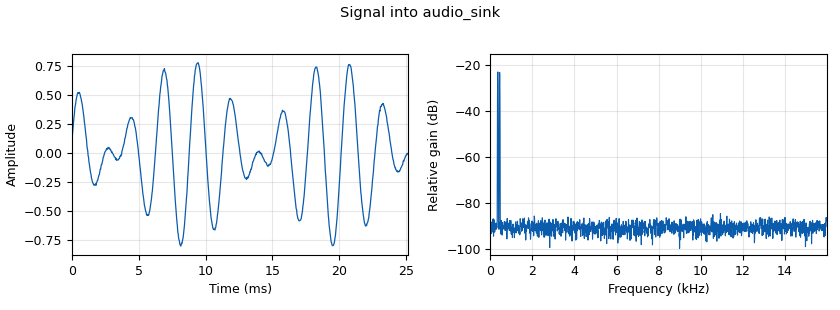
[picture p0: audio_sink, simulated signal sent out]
<?xml version='1.0' encoding='utf-8'?>
<flow_graph>
<block>
<key>options</key>
<param><key>id</key><value>dial_tone</value></param>
<param><key>title</key><value>Dial Tone</value></param>
<param><key>author</key><value>Example</value></param>
<param><key>description</key><value>example flow graph</value></param>
<param><key>generate_options</key><value>wx_gui</value></param>
<param><key>category</key><value>Custom</value></param>
</block>
<block>
<key>audio_sink</key>
<param><key>id</key><value>audio_sink</value></param>
<param><key>samp_rate</key><value>32000</value></param>
</block>
<block>
<key>variable_slider</key>
<param><key>id</key><value>ampl</value></param>
<param><key>label</key><value>Volume</value></param>
<param><key>value</key><value>.4</value></param>
<param><key>min</key><value>0</value></param>
<param><key>max</key><value>.5</value></param>
<param><key>num_steps</key><value>100</value></param>
<param><key>style</key><value>wx.SL_HORIZONTAL</value></param>
<param><key>converver</key><value>float_converter</value></param>
<param><key>grid_pos</key><value>0, 0, 1, 2</value></param>
</block>
<block>
<key>variable_slider</key>
<param><key>id</key><value>noise</value></param>
<param><key>label</key><value>Noise</value></param>
<param><key>value</key><value>.005</value></param>
<param><key>min</key><value>0</value></param>
<param><key>max</key><value>.2</value></param>
<param><key>num_steps</key><value>100</value></param>
<param><key>style</key><value>wx.SL_HORIZONTAL</value></param>
<param><key>converver</key><value>float_converter</value></param>
<param><key>grid_pos</key><value>1, 0, 1, 2</value></param>
</block>
<block>
<key>variable</key>
<param><key>id</key><value>samp_rate</value></param>
<param><key>value</key><value>32000</value></param>
</block>
<block>
<key>gr_add_xx</key>
<param><key>id</key><value>gr_add_xx</value></param>
<param><key>type</key><value>float</value></param>
<param><key>num_inputs</key><value>3</value></param>
<param><key>vlen</key><value>1</value></param>
</block>
<block>
<key>analog_sig_source_x</key>
<param><key>id</key><value>analog_sig_source_x_0</value></param>
<param><key>type</key><value>float</value></param>
<param><key>samp_rate</key><value>samp_rate</value></param>
<param><key>waveform</key><value>analog.GR_COS_WAVE</value></param>
<param><key>freq</key><value>350</value></param>
<param><key>amp</key><value>ampl</value></param>
<param><key>offset</key><value>0</value></param>
</block>
<block>
<key>analog_sig_source_x</key>
<param><key>id</key><value>analog_sig_source_x_1</value></param>
<param><key>type</key><value>float</value></param>
<param><key>samp_rate</key><value>samp_rate</value></param>
<param><key>waveform</key><value>analog.GR_COS_WAVE</value></param>
<param><key>freq</key><value>440</value></param>
<param><key>amp</key><value>ampl</value></param>
<param><key>offset</key><value>0</value></param>
</block>
<block>
<key>analog_noise_source_x</key>
<param><key>id</key><value>analog_noise_source_x_0</value></param>
<param><key>type</key><value>float</value></param>
<param><key>noise_type</key><value>analog.GR_GAUSSIAN</value></param>
<param><key>amp</key><value>noise</value></param>
<param><key>seed</key><value>-42</value></param>
</block>
<connection><source_block_id>gr_add_xx</source_block_id><sink_block_id>audio_sink</sink_block_id><source_key>0</source_key><sink_key>0</sink_key></connection>
<connection><source_block_id>analog_sig_source_x_0</source_block_id><sink_block_id>gr_add_xx</sink_block_id><source_key>0</source_key><sink_key>0</sink_key></connection>
<connection><source_block_id>analog_sig_source_x_1</source_block_id><sink_block_id>gr_add_xx</sink_block_id><source_key>0</source_key><sink_key>1</sink_key></connection>
<connection><source_block_id>analog_noise_source_x_0</source_block_id><sink_block_id>gr_add_xx</sink_block_id><source_key>0</source_key><sink_key>2</sink_key></connection>
</flow_graph>
